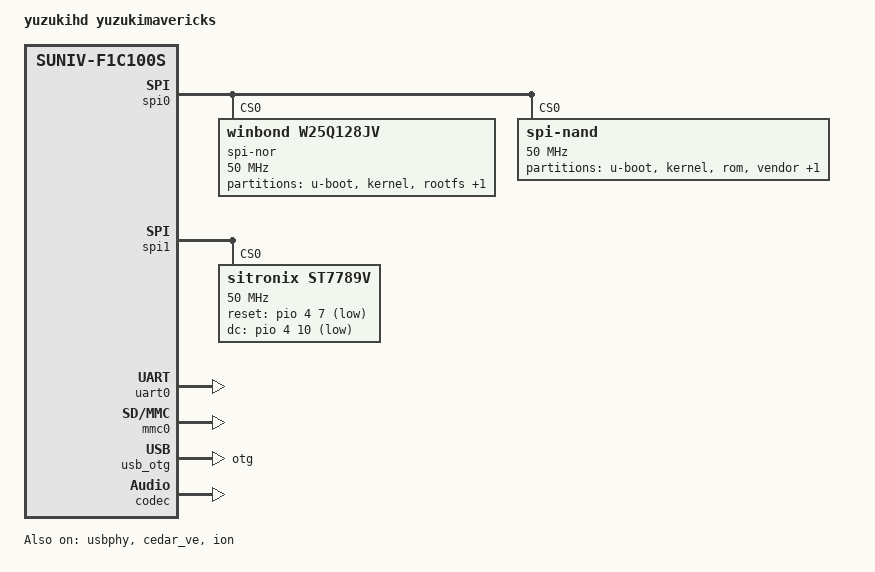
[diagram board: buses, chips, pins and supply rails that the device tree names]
// SPDX-License-Identifier: (GPL-2.0+ OR X11)

/dts-v1/;
#include "suniv-f1c100s-linux.dtsi"

/ {
	model = "yuzukihd yuzukimavericks";
	compatible = "allwinner,suniv-f1c200s", "allwinner,suniv-f1c100s";

	chosen {
		#address-cells = <1>;
		#size-cells = <1>;
		ranges;
		bootargs = "panic=5 console=tty1 fbcon=rotate:90,font:MINI4x6 console=ttyS0,115200 rootwait root=/dev/mtdblock2 rw rootfstype=squashfs overlayfsdev=/dev/mtdblock3"; 
	};
};

&spi0 {
	status = "okay";
	
	spi-nor@0 {
		#address-cells = <1>;
		#size-cells = <1>;
		compatible = "winbond,w25q128jv", "jedec,spi-nor";
		reg = <0>;
		spi-max-frequency = <50000000>;
		status = "okay";

		partitions {
			compatible = "fixed-partitions";
			#address-cells = <1>;
			#size-cells = <1>;

			partition@0 {
				label = "u-boot";
				reg = <0x000000 0x70000>;
				read-only;
			};

			partition@1 {
				label = "kernel";
				reg = <0x70000 0x590000>;
				read-only;
			};

			partition@2 {
				label = "rootfs";
				reg = <0x600000 0x700000>;
				// read-only;
			};

			partition@3 {
				label = "overlay";
				reg = <0xd00000 0x300000>;
			};
		};
	};

	spi-nand@0 {
		#address-cells = <1>;
		#size-cells = <1>;
		compatible = "spi-nand";
		reg = <0>;
		spi-max-frequency = <50000000>;

		partitions {
			compatible = "fixed-partitions";
			#address-cells = <1>;
			#size-cells = <1>;

			partition@0 {
				label = "u-boot";
				reg = <0x000000 0x100000>;
				read-only;
			};

			partition@1 {
				label = "kernel";
				reg = <0x100000 0x500000>;
				read-only;
			};

			partition@2 {
				label = "rom";
				reg = <0x600000 0x2a00000>;
				read-only;
			};

			partition@3 {
				label = "vendor";
				reg = <0x3000000 0x1000000>;
			};

			partition@4 {
				label = "overlay";
				reg = <0x4000000 0x3000000>;
			};
		};
	};
};

&spi1 {
	status = "okay";
	pinctrl-0 = <&spi1_pins>;
	st7789v@0 {
        status = "okay";
        compatible = "sitronix,st7789v";
        reg = <0>;
        spi-max-frequency = <50000000>;
        rotate = <90>;
        spi-cpol;
        spi-cpha;
        rgb;
        fps = <60>;
        buswidth = <8>;
        reset = <&pio 4 7 GPIO_ACTIVE_LOW>;
        dc = <&pio 4 10 GPIO_ACTIVE_LOW>;
        debug = <0>;
    };
};

&uart0 {
	pinctrl-names = "default";
	pinctrl-0 = <&uart0_pe_pins>;
	status = "okay";
};

&mmc0 {
	status = "okay";
	broken-cd;
};

&otg_sram {
	status = "okay";
};

&usb_otg {
	dr_mode = "otg";
	status = "okay";
};

&usbphy {
	status = "okay";
};

&cedar_ve {
	status = "okay";
};

&ion {
	status = "okay";
};

&codec {
	allwinner,audio-routing =
		"Headphone", "HP",
		"Headphone", "HPCOM",
		"LINEIN", "Line In",
		"FMINL", "Left FM In",
		"FMINR", "Right FM In",
		"MIC", "Mic";
	status = "okay";
};
